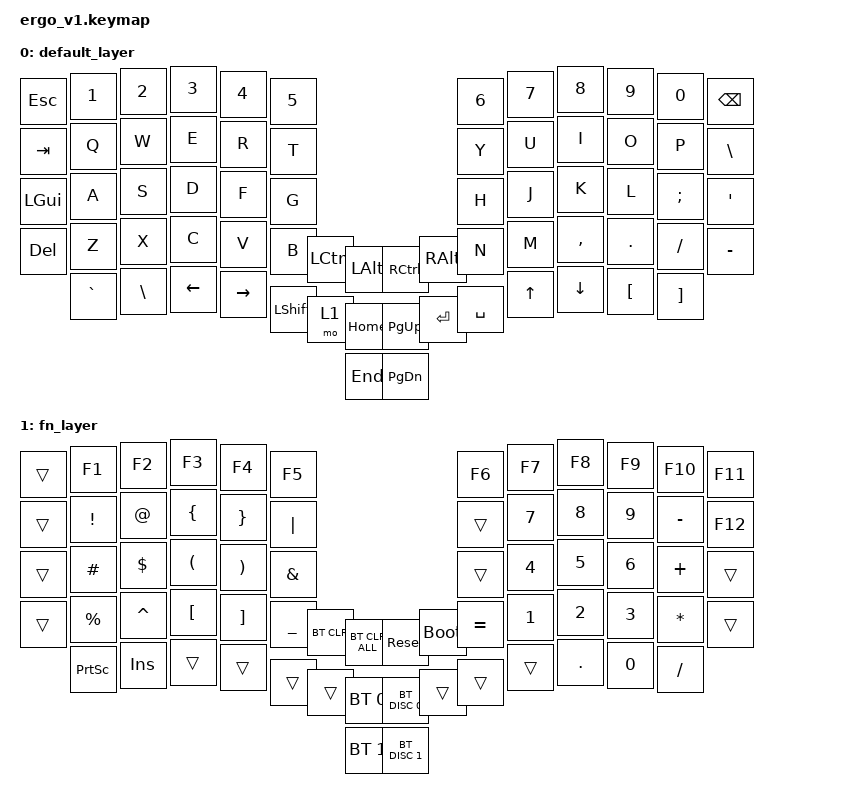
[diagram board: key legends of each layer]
/*
 * Copyright (c) 2021 The ZMK Contributors
 *
 * SPDX-License-Identifier: MIT
 */

#include <behaviors.dtsi>
#include <dt-bindings/zmk/bt.h>
#include <dt-bindings/zmk/keys.h>

/*
#include <dt-bindings/zmk/ext_power.h>
#include <dt-bindings/zmk/outputs.h>

 #define DEFAULT 0
 #define FN  1
*/
 
/* Uncomment this block if using RGB
&led_strip {
    chain-length = <6>;
    // chain-length = <31>; // Uncomment if using both per-key and underglow LEDs
    // chain-length = <25>; // Uncomment if using only per-key LEDs.
};
 */

/ {
       keymap {
              compatible = "zmk,keymap";

              default_layer {
// ---------------------------------------------------------------------------------------------------------------------------------
// | ESC  |  1   |  2   |  3   |  4   |  5   |                                                   |  6   |  7   |  8   |  9   |  0   | BSPC |
// | TAB  |  Q   |  W   |  E   |  R   |  T   |                                                   |  Y   |  U   |  I   |  O   |  P   | EQL  |
// | LCTL |  A   |  S   |  D   |  F   |  G   |                                                   |  H   |  J   |  K   |  L   | SCLN | QUOT |
// | LSHFT|  Z   |  X   |  C   |  V   |  B   |      | CTL  | ALT  |         | CTL  | ALT  |      |  N   |  M   | COMM | DOT  | SLSH | MINS |
//        | GRV  | BSLS | LEFT | RGHT |      | SHFT |  FN  | HOME |         | PGUP | ENT  | SPC  |      |  UP  |  DN  | LBKT | RBKT |
//                                                         | END  |         | PGDN |
                     bindings = <
        &kp ESC    &kp N1  &kp N2   &kp N3   &kp N4    &kp N5                                                                    &kp N6    &kp N7    &kp N8    &kp N9     &kp N0    &kp BSPC
        &kp TAB    &kp Q   &kp W    &kp E    &kp R     &kp T                                                                     &kp Y     &kp U     &kp I     &kp O      &kp P     &kp BSLH
        &kp LGUI   &kp A   &kp S    &kp D    &kp F     &kp G                                                                     &kp H     &kp J     &kp K     &kp L      &kp SEMI  &kp SQT
        &kp DEL    &kp Z   &kp X    &kp C    &kp V     &kp B               &kp LCTRL &kp LALT      &kp RCTRL &kp RALT            &kp N     &kp M     &kp COMMA &kp PERIOD &kp SLASH &kp MINUS
                   &kp GRAVE &kp BSLH &kp LEFT &kp RIGHT         &kp LSHFT &mo 1     &kp HOME      &kp PG_UP &kp ENTER &kp SPACE           &kp UP    &kp DOWN  &kp LBKT   &kp RBKT
                                                                                     &kp END       &kp PG_DN
                     >;
              };
              fn_layer {
// ---------------------------------------------------------------------------------------------------------------------------------
// |      |  F1  |  F2  |  F3  |  F4  |  F5  |                                                   |      | NLCK |  =   |  /   |  *   |      |
// |      |  F6  |  F7  |  F8  |  F9  |  F10 |                                                   |      |  7   |  8   |  9   |  -   |      |
// |      |      |      |      |      |      |                                                   |      |  4   |  5   |  6   |  +   |      |
// |      |      |      |      |      | PTSC |      |      |      |         |      |      |      |      |  1   |  2   |  3   | ENT  |      |
//        |      | INS  |      |      |      |      |  FN  |      |         |      |      |      |      |      |      |  .   | ENT  |
//                                                         |      |         |      |                                                                    
                     bindings = <
        &trans     &kp F1      &kp F2      &kp F3     &kp F4      &kp F5                                                                                  &kp F6    &kp F7    &kp F8     &kp F9    &kp F10    &kp F11
        &trans     &kp EXCL    &kp AT      &kp LBRC   &kp RBRC    &kp PIPE                                                                                &trans    &kp N7    &kp N8     &kp N9    &kp MINUS  &kp F12
        &trans     &kp HASH    &kp DLLR    &kp LPAR   &kp RPAR    &kp AMPS                                                                                &trans    &kp N4    &kp N5     &kp N6    &kp PLUS   &trans
        &trans     &kp PRCNT   &kp CARET   &kp LBKT   &kp RBKT    &kp UNDER         &bt BT_CLR  &bt BT_CLR_ALL       &sys_reset       &bootloader         &kp EQUAL &kp N1    &kp N2     &kp N3    &kp STAR   &trans
                   &kp PSCRN   &kp INS     &trans     &trans              &trans    &trans      &bt BT_SEL 0         &bt BT_DISC 0    &trans    &trans              &trans    &kp PERIOD &kp N0    &kp SLASH
                                                                                                &bt BT_SEL 1         &bt BT_DISC 1
                     >;
              };

    };
};
